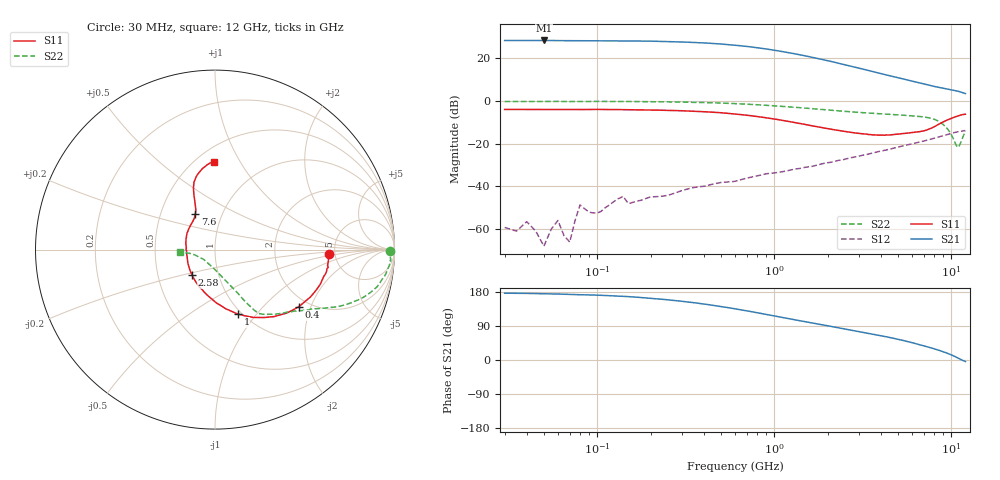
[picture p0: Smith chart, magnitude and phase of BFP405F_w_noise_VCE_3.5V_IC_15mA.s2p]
! Infineon Technologies  Discrete & RF Semiconductors
! BFP405F
! VCE =  3.5 V,  IC =  15 mA
! Common Emitter S-Parameters:  Nov 2015
# GHz  S  MA  R  50
!  f  S11  S21  S12  S22
! GHz  MAG  ANG  MAG  ANG  MAG  ANG  MAG  ANG
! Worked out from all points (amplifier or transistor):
!   239 points, 30 MHz to 12 GHz, reference 50 ohm
!   highest |S21| = 28.4 dB at 50 MHz (marker M1)
!   |S21| within 3 dB of that: start of sweep to 734.3 MHz
!   unconditionally stable (mu >= 1): start of sweep to 31.29 MHz; 63.36 MHz to 71.23 MHz; 2.007 GHz to end of sweep (the widest 3 of 4)
!   at 300 MHz: K = 0.22, MSG = 34.8 dB, |S12| = -41.9 dB
!   at 1.88 GHz: K = 0.97, MSG = 24.4 dB, |S12| = -29.3 dB
!   at 12 GHz: K = 1.37, MAG = 5.0 dB, |S12| = -13.8 dB
!   lowest NFmin = 1.97 dB at 450 MHz
!   S11 on the Smith chart (normalised r, x): 30 MHz: 4.47, -0.37; 400 MHz: 1.76, -1.65; 1 GHz: 0.96, -0.80; 2.58 GHz: 0.75, -0.22; 7.6 GHz: 0.75, +0.31; 12 GHz: 0.61, +0.78
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0.03  0.6367 -2.2  26.1 176.3  0.0011 32.1  0.974 -0.4
0.04  0.6336 -3.0  26.08 175.8  0.0015 121.3  0.9744 -0.6
0.05  0.6338 -4.5  26.24 174.7  0.0004 77.0  0.9776 -1.3
0.06  0.6347 -5.2  25.98 174.1  0.0016 40.2  0.983 -1.5
0.07  0.6342 -5.8  25.94 172.9  0.0005 -88.7  0.9726 -1.8
0.08  0.6341 -7.1  25.8 172.2  0.0037 57.3  0.9778 -2.2
0.085  0.6336 -7.5  25.83 172.0  0.003 71.1  0.9779 -2.5
0.14  0.6294 -12.7  25.63 168.1  0.0059 100.9  0.9768 -4.6
0.2  0.6175 -18.2  25.3 162.7  0.0057 97.4  0.9661 -6.9
0.24  0.6081 -21.5  24.8 159.7  0.006 86.2  0.9608 -8.2
0.3  0.5932 -26.5  24.23 155.0  0.008 83.9  0.9464 -10.0
0.4  0.5641 -34.4  23.01 147.7  0.0101 74.3  0.926 -13.0
0.6  0.4976 -48.6  20.3 135.0  0.0132 72.6  0.8711 -17.6
0.76  0.4468 -57.8  18.23 126.7  0.0169 72.8  0.8296 -20.3
1  0.3803 -70.5  15.5 116.3  0.0208 70.9  0.7736 -23.8
1.3  0.3135 -84.0  12.82 106.2  0.0255 70.0  0.7161 -26.8
1.64  0.263 -97.8  10.56 97.7  0.0297 69.3  0.6645 -29.6
2.58  0.1898 -132.5  6.877 80.8  0.0447 68.3  0.5681 -37.1
4.5  0.1613 175.1  3.898 59.4  0.0751 62.8  0.4903 -47.1
7.6  0.2262 119.0  2.312 32.6  0.1271 50.3  0.3992 -57.2
10.8  0.4435 100.8  1.714 6.1  0.1896 32.0  0.0849 -118.6
12  0.4908 90.7  1.497 -4.0  0.2042 24.9  0.1956 -175.8
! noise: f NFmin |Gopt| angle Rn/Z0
0.45  1.97  0.11  2  0.35
0.9  1.99  0.1  4  0.33
1.5  2.03  0.08  8  0.23
1.9  2.09  0.06  10  0.28
2.4  2.24  0.04  13  0.42
3  2.32  0.03  6  0.36
3.5  2.38  0.01  -46  0.48
4.5  2.58  0.08  -93  0.25
5.5  2.83  0.16  -88  0.1
